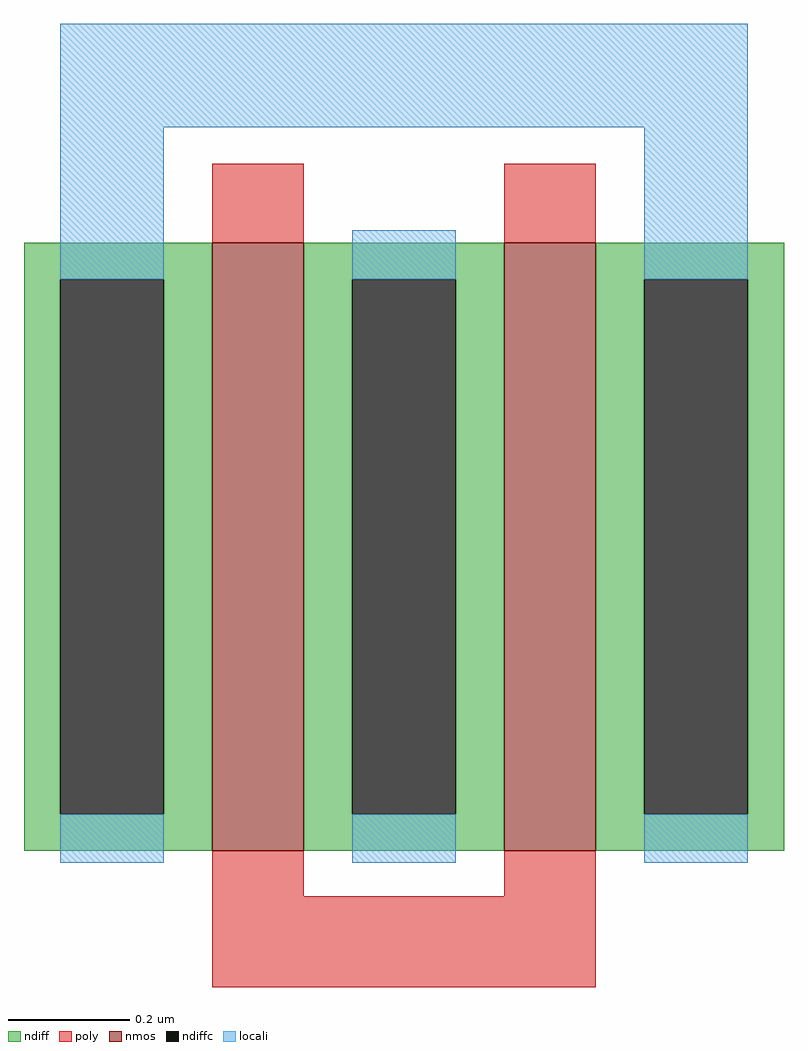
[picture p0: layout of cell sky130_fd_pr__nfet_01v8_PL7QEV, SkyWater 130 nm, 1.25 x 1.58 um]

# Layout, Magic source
magic
tech sky130A
magscale 1 2
<< nmos >>
rect -63 -100 -33 100
rect 33 -100 63 100
<< ndiff >>
rect -125 88 -63 100
rect -125 -88 -113 88
rect -79 -88 -63 88
rect -125 -100 -63 -88
rect -33 88 33 100
rect -33 -88 -17 88
rect 17 -88 33 88
rect -33 -100 33 -88
rect 63 88 125 100
rect 63 -88 79 88
rect 113 -88 125 88
rect 63 -100 125 -88
<< ndiffc >>
rect -113 -88 -79 88
rect -17 -88 17 88
rect 79 -88 113 88
<< poly >>
rect -63 100 -33 126
rect 33 100 63 126
rect -63 -115 -33 -100
rect 33 -115 63 -100
rect -63 -145 63 -115
<< locali >>
rect -113 138 113 172
rect -113 88 -79 138
rect -113 -104 -79 -88
rect -17 88 17 104
rect -17 -104 17 -88
rect 79 88 113 138
rect 79 -104 113 -88
<< properties >>
string gencell sky130_fd_pr__nfet_01v8
string library sky130
string parameters w 1.0 l 0.15 m 1 nf 2 diffcov 100 polycov 100 guard 0 glc 1 grc 1 gtc 1 gbc 1 tbcov 100 rlcov 100 topc 1 botc 1 poverlap 0 doverlap 1 lmin 0.15 wmin 0.42 compatible {sky130_fd_pr__nfet_01v8 sky130_fd_pr__nfet_01v8_lvt  sky130_fd_bs_flash__special_sonosfet_star  sky130_fd_pr__nfet_g5v0d10v5 sky130_fd_pr__nfet_05v0_nvt  sky130_fd_pr__nfet_03v3_nvt} full_metal 1 viasrc 100 viadrn 100 viagate 100 viagb 0 viagr 0 viagl 0 viagt 0
<< end >>
